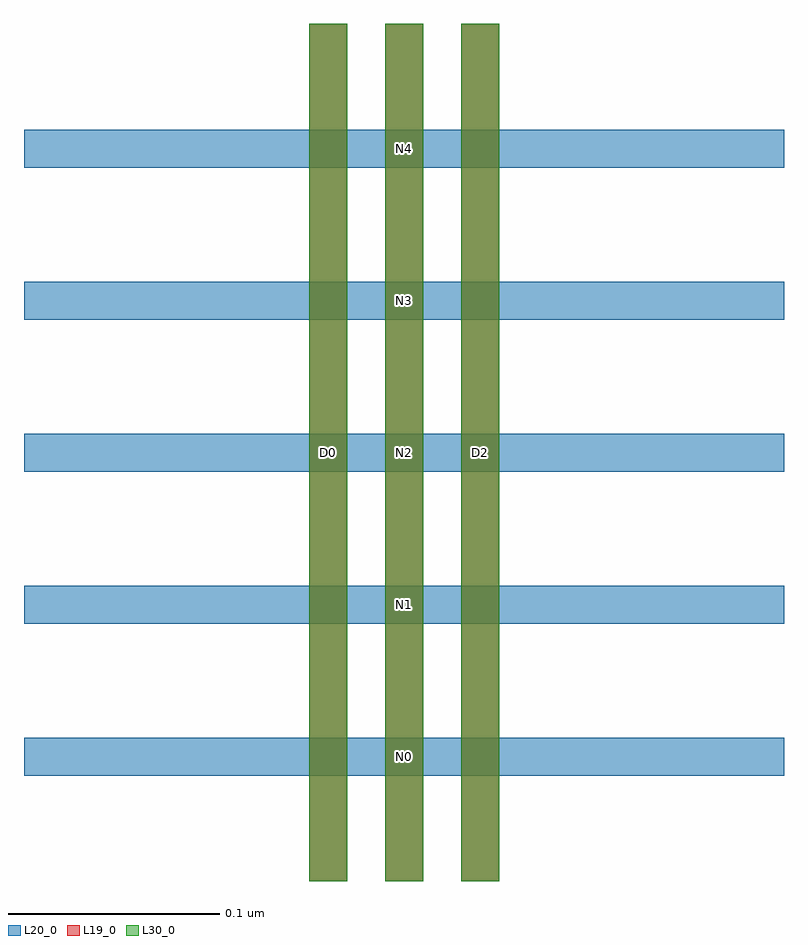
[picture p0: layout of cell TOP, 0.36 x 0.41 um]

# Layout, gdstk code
import gdstk
lib = gdstk.Library(unit=1e-6, precision=2.5e-10)
def R(c, l, rs):  # rectangles x0, y0, x1, y1
    for r in rs: c.add(gdstk.rectangle(r[:2], r[2:], *l))
def A(c, l, x, y, w, h, nx, ny, dx, dy):  # array of equal rectangles
    R(c, l, [(x+i*dx, y+j*dy, x+i*dx+w, y+j*dy+h) for i in range(nx) for j in range(ny)])
L19_0 = (19, 0)
L20_0 = (20, 0)
L30_0 = (30, 0)

top = lib.new_cell('TOP')
A(top, L19_0, 0.135, -0.05, 0.018, 0.406, 3, 1, 0.036, 0)
A(top, L20_0, 0, 0, 0.36, 0.018, 1, 5, 0, 0.072)
A(top, L30_0, 0.135, -0.05, 0.018, 0.406, 3, 1, 0.036, 0)
top.add(gdstk.Label('N0', (0.18,0.009), layer=20, texttype=251))
top.add(gdstk.Label('N1', (0.18,0.081), layer=20, texttype=251))
top.add(gdstk.Label('N2', (0.18,0.153), layer=20, texttype=251))
top.add(gdstk.Label('N3', (0.18,0.225), layer=20, texttype=251))
top.add(gdstk.Label('N4', (0.18,0.297), layer=20, texttype=251))
top.add(gdstk.Label('D0', (0.144,0.153), layer=19, texttype=251))
top.add(gdstk.Label('D1', (0.18,0.153), layer=19, texttype=251))
top.add(gdstk.Label('D2', (0.216,0.153), layer=19, texttype=251))
top.add(gdstk.Label('U0', (0.144,0.153), layer=30, texttype=251))
top.add(gdstk.Label('U1', (0.18,0.153), layer=30, texttype=251))
top.add(gdstk.Label('U2', (0.216,0.153), layer=30, texttype=251))

lib.write_gds('TOP.gds')
